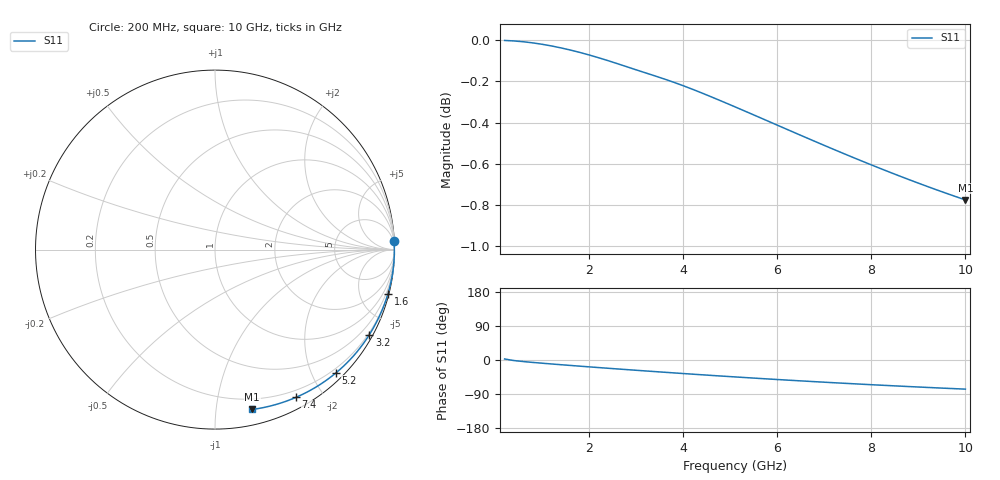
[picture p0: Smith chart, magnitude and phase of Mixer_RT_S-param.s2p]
! Touchstone Ver. 1.0
! Number of ports is 1
# Hz	S	RI	R	100.000000
! SCATTERING PARAMETERS  :
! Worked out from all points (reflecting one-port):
!   50 points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, 200 MHz to 10 GHz, reference 100 ohm
!   lowest |S11| = -0.8 dB at 10 GHz (marker M1), VSWR 22.40, Z = 11.5 - j125 ohm
!   phase of S11 starts at 3 deg and turns -80 deg over the sweep
!   S11 on the Smith chart (normalised r, x): 200 MHz: 0, +43; 1.6 GHz: 0.17, -7.93; 3.2 GHz: 0.15, -3.88; 5.2 GHz: 0.13, -2.38; 7.4 GHz: 0.12, -1.68; 10 GHz: 0.12, -1.25
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2e8  0.9988 0.0467
4e8  0.9993 -0.026
6e8  0.9966 -0.0719
8e8  0.9924 -0.111
1e9  0.9869 -0.1471
1.2e9  0.9802 -0.1815
1.6e9  0.9634 -0.2469
1.8e9  0.9535 -0.2782
2.2e9  0.9307 -0.3383
2.4e9  0.918 -0.3672
2.8e9  0.8902 -0.4224
3.2e9  0.8597 -0.4744
3.6e9  0.8268 -0.5234
4e9  0.7914 -0.5693
4.2e9  0.7729 -0.5909
4.6e9  0.7348 -0.6314
4.8e9  0.7152 -0.6503
5.2e9  0.6753 -0.6856
5.4e9  0.6551 -0.702
5.8e9  0.6143 -0.7323
6.4e9  0.5527 -0.7718
6.8e9  0.5117 -0.7944
7.4e9  0.451 -0.8233
7.6e9  0.431 -0.8316
8.2e9  0.372 -0.8531
8.8e9  0.315 -0.8697
9.4e9  0.2601 -0.8821
1e10  0.2075 -0.8907
